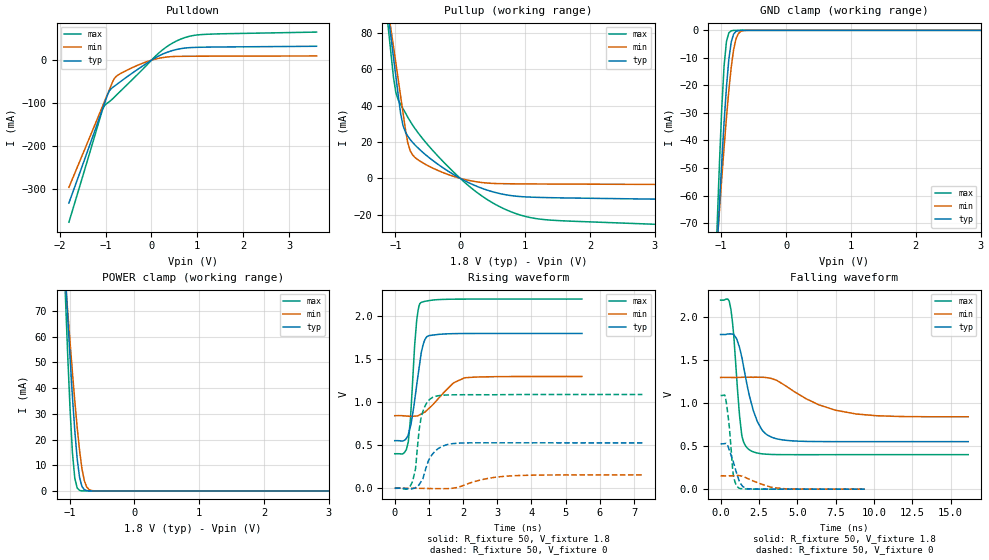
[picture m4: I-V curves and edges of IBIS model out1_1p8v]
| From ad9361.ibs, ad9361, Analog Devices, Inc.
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|   Model: output1_1p8v
[Model]   out1_1p8v
Model_type  3-state
Vref=0
Vmeas=0.9
Rref=1G
Cref=3pF
|variable   typ   min   max
C_comp_pullup   6.776687E-13 6.320173E-13 6.782065E-13
C_comp_pulldown   3.822863E-13 3.803010E-13 4.836932E-13
[C Comp Corner]
C_comp_pullup   6.320173E-13 6.782065E-13 6.776687E-13
C_comp_pulldown   3.803010E-13 4.836932E-13 3.822863E-13
[Temperature Range]   25   85   -40
[Voltage Range]   1.8   1.3   2.2
[Power Clamp Reference] 1.8   1.3   2.2
[GND Clamp Reference]   0   0   0
[Pullup Reference]   1.8   1.3   2.2
[Pulldown Reference]   0   0   0
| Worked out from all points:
|   slope of the pulldown table from 0 to 0.27 V, typ, clamps not added: 17.7 ohm
|   slope of the pullup table from 0 to 0.27 V, typ, clamps not added: 58.7 ohm
|   GND clamp passes 1 mA (typ) near -0.79 V on its own axis
|   POWER clamp passes 1 mA (typ) near -0.79 V on its own axis
|   rising waveform, R_fixture 50, V_fixture 1.8: 20-80 % time 268ps typ, 661ps min, 171ps max; typ from 0.553 V to 1.8 V
|   falling waveform, R_fixture 50, V_fixture 1.8: 20-80 % time 999ps typ, 3.04ns min, 466ps max; typ from 1.8 V to 0.553 V
|   rising waveform, R_fixture 50, V_fixture 0: 20-80 % time 344ps typ, 884ps min, 206ps max; typ from 0 V to 0.528 V
|   falling waveform, R_fixture 50, V_fixture 0: 20-80 % time 563ps typ, 1.39ns min, 321ps max; typ from 0.528 V to 0 V
[Power clamp]
| Voltage   I(typ)   I(min)   I(max)
-1.8V     461.8mA    356.7mA    643.2mA
-1.065V   85.08mA    82.79mA    77.32mA
-1.029V   68.19mA    70.22mA    53.44mA
-991.8mV  52.01mA    57.98mA    32.03mA
-955.1mV  36.88mA    46.19mA    15.03mA
-918.4mV  23.4mA     35.02mA    4.924mA
-881.6mV  12.5mA     24.73mA    1.129mA
-844.9mV  5.274mA    15.76mA    203.9uA
-808.2mV  1.74mA     8.682mA    33.81uA
-771.4mV  479.6uA    3.987mA    5.505uA
-661.2mV  7.202uA    164uA      23.49nA
3.6V      -7.2pA     -7.268pA   -7.2pA
[GND Clamp]
| Voltage   I(typ)   I(min)   I(max)
-1.8V     -456.4mA   -351.6mA   -637.4mA
-1.065V   -80.75mA   -78.6mA    -73mA
-1.029V   -64.07mA   -66.17mA   -49.56mA
-991.8mV  -48.17mA   -54.1mA    -28.85mA
-955.1mV  -33.46mA   -42.53mA   -12.95mA
-918.4mV  -20.57mA   -31.66mA   -4.057mA
-881.6mV  -10.53mA   -21.8mA    -911.3uA
-844.9mV  -4.247mA   -13.4mA    -166.7uA
-808.2mV  -1.364mA   -7.061mA   -28.51uA
-771.4mV  -375.4uA   -3.108mA   -4.808uA
-661.2mV  -6.051uA   -125.9uA   -22.83nA
3.6V      7.2pA      7.133pA    7.2pA
[Pullup]
| Voltage   I(typ)   I(min)   I(max)
-1.8V     287.9mA    264.6mA    319mA
-1.139V   98.14mA    99.68mA    93.05mA
-1.102V   87.65mA    90.61mA    80.53mA
-1.065V   77.17mA    81.55mA    68.01mA
-991.8mV  56.2mA     63.43mA    47.21mA
-918.4mV  35.63mA    45.3mA     40.63mA
-844.9mV  25.51mA    27.07mA    36.03mA
-771.4mV  21.39mA    15.23mA    31.44mA
-367.3mV  8.358mA    4.707mA    13.16mA
293.9mV   -4.936mA   -2.118mA   -8.689mA
955.1mV   -10.11mA   -3.064mA   -20.51mA
3.6V      -11.76mA   -3.422mA   -26.09mA
[Pulldown]
| Voltage   I(typ)   I(min)   I(max)
-1.8V     -331.3mA   -295.1mA   -375.9mA
-1.065V   -112.9mA   -106.5mA   -114.2mA
-1.029V   -101.8mA   -97.06mA   -106.2mA
-955.1mV  -79.6mA    -78.14mA   -99.08mA
-918.4mV  -71.24mA   -68.68mA   -96.22mA
-808.2mV  -60.34mA   -42.39mA   -85.68mA
-734.7mV  -54.48mA   -34.87mA   -77.97mA
-183.7mV  -12.85mA   -6.727mA   -20.33mA
257.1mV   14.66mA    6.188mA    25.18mA
624.5mV   26.45mA    8.931mA    48.29mA
991.8mV   29.79mA    9.195mA    58.44mA
3.6V      32.27mA    9.781mA    65.17mA
[Rising Waveform]
R_fixture = 50
V_fixture = 1.8
V_fixture_min = 1.3
V_fixture_max = 2.2
| time   V(typ)   V(min)   V(max)
0s        553.3mV    843.8mV    401.5mV
278.4ps   557.1mV    842mV      412.3mV
397.9ps   627.5mV    838mV      542.1mV
460.5ps   720.2mV    836mV      813.3mV
581.2ps   1.017V     838.7mV    1.655V
641ps     1.195V     840.2mV    1.947V
752.1ps   1.51V      858.7mV    2.155V
939.8ps   1.763V     906.4mV    2.178V
2.048ns   1.799V     1.285V     2.2V
5.477ns   1.8V       1.3V       2.2V
[Falling Waveform]
R_fixture = 50
V_fixture = 1.8
V_fixture_min = 1.3
V_fixture_max = 2.2
| time   V(typ)   V(min)   V(max)
0s        1.8V       1.3V       2.2V
482.6ps   1.806V     1.3V       2.211V
672.2ps   1.807V     1.3V       2.094V
1.05ns    1.749V     1.3V       1.297V
1.376ns   1.541V     1.302V     634.6mV
1.957ns   1.033V     1.303V     448.6mV
2.703ns   688.3mV    1.302V     411.3mV
3.895ns   577.4mV    1.241V     402mV
8.85ns    553.1mV    874.5mV    401.4mV
16.15ns   553.3mV    842.4mV    401.5mV
[Rising Waveform]
R_fixture = 50
V_fixture = 0
V_fixture_min = 0
V_fixture_max = 0
| time   V(typ)   V(min)   V(max)
0s        19.25uV    14.81uV    23.1uV
338.4ps   -4.259mV   225.2uV    -10.5mV
522.8ps   -4.708mV   77.73uV    79.68mV
608.9ps   7.65mV     -119.7uV   228.9mV
714.8ps   42.55mV    -864.7uV   682.4mV
766.9ps   75.08mV    -1.288mV   811.5mV
1.113ns   400.5mV    -3.761mV   1.058V
1.896ns   525.3mV    18.16mV    1.087V
3.315ns   528.3mV    141.9mV    1.089V
7.246ns   528mV      155.5mV    1.09V
[Falling Waveform]
R_fixture = 50
V_fixture = 0
V_fixture_min = 0
V_fixture_max = 0
| time   V(typ)   V(min)   V(max)
0s        528mV      155.3mV    1.09V
259.3ps   530.1mV    155.2mV    1.096V
328.4ps   532.3mV    155.1mV    1.058V
576.7ps   451.6mV    155.3mV    711.7mV
821.6ps   322.7mV    156.1mV    178.8mV
1.008ns   208.4mV    158mV      53.56mV
1.205ns   100.4mV    158.7mV    11.84mV
1.701ns   5.883mV    129mV      2.329mV
3.318ns   375.2uV    21.15mV    32.65uV
9.405ns   -4.502uV   66.94uV    1.407uV
[Ramp]
| variable   typ   min   max
dV/dt_r  0.316785/3.44E-10   0.093208/8.83E-10   0.654202/2.06E-10
dV/dt_f  0.748026/9.99E-10   0.274100/3.03E-09   1.079130/4.66E-10
R_load = 50
|   End of [Model]: output1_1p8v
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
